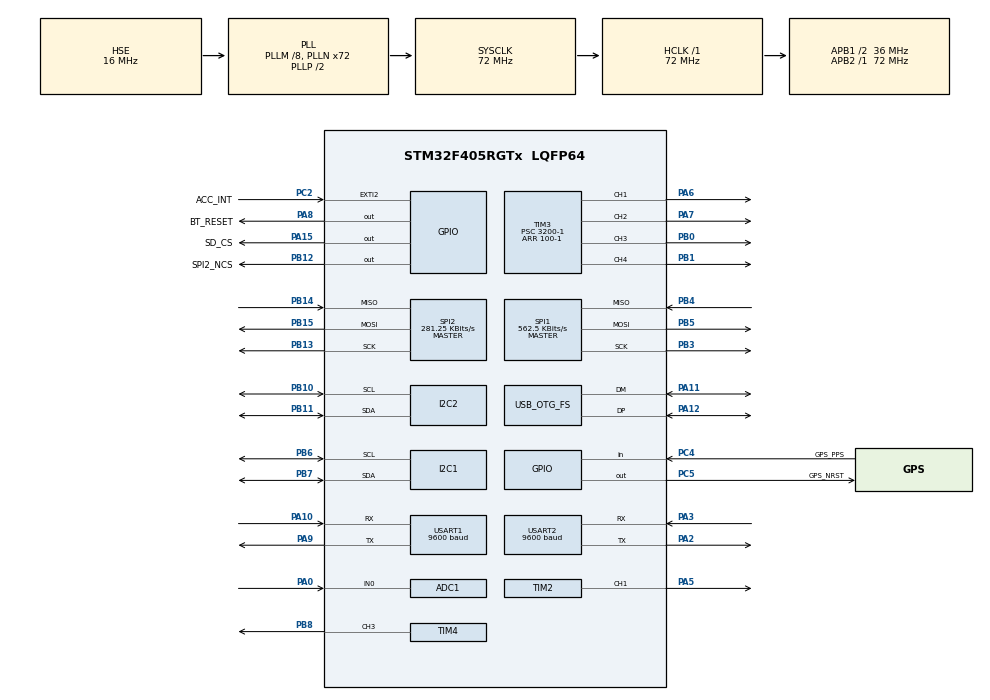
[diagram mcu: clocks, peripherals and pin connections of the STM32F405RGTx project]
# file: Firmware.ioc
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Mcu.Family=STM32F4
USB_DEVICE.CLASS_NAME_FS=CDC
PH0-OSC_IN.Signal=RCC_OSC_IN
RCC.CortexFreq_Value=72000000
PB10.GPIO_Speed=GPIO_SPEED_FREQ_VERY_HIGH
SPI1.VirtualType=VM_MASTER
PB6.GPIO_Mode=GPIO_MODE_AF_OD
SPI2.VirtualType=VM_MASTER
PB10.Mode=I2C
USART1.BaudRate=9600
PA11.Mode=Device_Only
USB_DEVICE.VirtualMode-CDC_FS=Cdc
PB11.Signal=I2C2_SDA
PB13.Signal=SPI2_SCK
PB15.Signal=SPI2_MOSI
TIM3.Channel-PWM\ Generation4\ CH4=TIM_CHANNEL_4
TIM4.TIM_MasterOutputTrigger=TIM_TRGO_UPDATE
RCC.SYSCLKSource=RCC_SYSCLKSOURCE_PLLCLK
ProjectManager.StackSize=0x400
PB11.GPIO_Speed=GPIO_SPEED_FREQ_VERY_HIGH
PB7.GPIO_Mode=GPIO_MODE_AF_OD
PA15.GPIO_Label=SD_CS
PA12.Signal=USB_OTG_FS_DP
SPI1.Direction=SPI_DIRECTION_2LINES
RCC.HCLKFreq_Value=72000000
RCC.APB2TimFreq_Value=72000000
TIM3.Period=100-1
PB6.Signal=I2C1_SCL
ADC1.Channel-2\#ChannelRegularConversion=ADC_CHANNEL_0
PB6.Mode=I2C
SPI1.CalculateBaudRate=562.5 KBits/s
RCC.AHBFreq_Value=72000000
SPI2.BaudRatePrescaler=SPI_BAUDRATEPRESCALER_128
PH0-OSC_IN.Mode=HSE-External-Oscillator
Dma.USART1_RX.0.Priority=DMA_PRIORITY_LOW
TIM3.Channel-PWM\ Generation1\ CH1=TIM_CHANNEL_1
RCC.HSE_VALUE=16000000
TIM4.Channel-PWM\ Generation3\ CH3=TIM_CHANNEL_3
PA4.GPIO_PuPd=GPIO_NOPULL
PB3.Mode=Full_Duplex_Master
PB12.GPIO_Label=SPI2_NCS
ADC1.Rank-2\#ChannelRegularConversion=1
PB4.Mode=Full_Duplex_Master
PC4.GPIO_Label=GPS_PPS
PA14.Mode=Serial_Wire
PB14.Mode=Full_Duplex_Master
TIM3.Prescaler=3200-1
PB5.Mode=Full_Duplex_Master
SPI2.CalculateBaudRate=281.25 KBits/s
PB7.Signal=I2C1_SDA
PA8.Signal=GPIO_Output
SH.ADCx_IN0.0=ADC1_IN0,IN0
TIM2.Channel-PWM\ Generation1\ CH1=TIM_CHANNEL_1
SH.S_TIM3_CH1.0=TIM3_CH1,PWM Generation1 CH1
TIM4.Period=10-1
Dma.USART1_RX.0.MemInc=DMA_MINC_ENABLE
PB6.GPIO_PuPdOD=GPIO_PULLUP
PH1-OSC_OUT.Mode=HSE-External-Oscillator
Mcu.Package=LQFP64
TIM2.Prescaler=3200-1
PB1.Signal=S_TIM3_CH4
PA6.Signal=S_TIM3_CH1
SPI2.Mode=SPI_MODE_MASTER
USART2.VirtualMode=VM_ASYNC
NVIC.OTG_FS_IRQn=true\:0\:0\:false\:false\:true\:false\:true
PA10.Signal=USART1_RX
USB_OTG_FS.VirtualMode=Device_Only
PA15.Signal=GPIO_Output
Dma.USART1_RX.0.FIFOMode=DMA_FIFOMODE_DISABLE
SH.ADCx_IN1.0=ADC1_IN1
NVIC.DMA2_Stream2_IRQn=true\:0\:0\:false\:false\:true\:false\:true
RCC.APB1TimFreq_Value=72000000
Dma.USART1_RX.0.Mode=DMA_NORMAL
SPI2.Direction=SPI_DIRECTION_2LINES
PC5.Signal=GPIO_Output
PB13.Mode=Full_Duplex_Master
PB11.GPIO_Mode=GPIO_MODE_AF_OD
Dma.Request0=USART1_RX
SPI1.BaudRatePrescaler=SPI_BAUDRATEPRESCALER_128
PC2.GPIO_Label=ACC_INT
Dma.USART1_RX.0.Instance=DMA2_Stream2
PB4.Signal=SPI1_MISO
PA3.Signal=USART2_RX
PB7.GPIO_Speed=GPIO_SPEED_FREQ_VERY_HIGH
Dma.USART1_RX.0.PeriphDataAlignment=DMA_PDATAALIGN_BYTE
PA10.Mode=Asynchronous
USB_DEVICE.VirtualModeFS=Cdc_FS
PB10.GPIO_PuPdOD=GPIO_PULLUP
PB11.GPIO_PuPdOD=GPIO_PULLUP
PC2.Signal=GPXTI2
PC4.Signal=GPIO_Input
RCC.APB1CLKDivider=RCC_HCLK_DIV2
SH.S_TIM3_CH3.0=TIM3_CH3,PWM Generation3 CH3
NVIC.USART2_IRQn=true\:0\:0\:false\:false\:true\:true\:true
USART2.BaudRate=9600
ADC1.SamplingTime-2\#ChannelRegularConversion=ADC_SAMPLETIME_3CYCLES
PA0-WKUP.Signal=ADCx_IN0
PA3.Mode=Asynchronous
PA13.Signal=SYS_JTMS-SWDIO
TIM3.Channel-PWM\ Generation3\ CH3=TIM_CHANNEL_3
PA9.Mode=Asynchronous
PB10.GPIO_Mode=GPIO_MODE_AF_OD
PA8.GPIO_Label=BT_RESET
PB11.Mode=I2C
ProjectManager.TargetToolchain=STM32CubeIDE
SH.S_TIM4_CH3.0=TIM4_CH3,PWM Generation3 CH3
Dma.USART1_RX.0.Direction=DMA_PERIPH_TO_MEMORY
VP_USB_DEVICE_VS_USB_DEVICE_CDC_FS.Mode=CDC_FS
PA9.Signal=USART1_TX
TIM4.Prescaler=32000-1
RCC.LSE_VALUE=32768
PA1.Signal=ADCx_IN1
Dma.USART1_RX.0.PeriphInc=DMA_PINC_DISABLE
VP_FATFS_VS_Generic.Mode=User_defined
PB10.Signal=I2C2_SCL
PB14.Signal=SPI2_MISO
PA5.Signal=S_TIM2_CH1_ETR
SH.S_TIM3_CH2.0=TIM3_CH2,PWM Generation2 CH2
board=custom
RCC.VCOOutputFreq_Value=144000000
PB15.Mode=Full_Duplex_Master
PA4.GPIO_Mode=GPIO_MODE_ANALOG
RCC.APB2Freq_Value=72000000
SPI1.Mode=SPI_MODE_MASTER
PH1-OSC_OUT.Signal=RCC_OSC_OUT
Dma.USART1_RX.0.MemDataAlignment=DMA_MDATAALIGN_BYTE
SH.ADCx_IN4.0=ADC1_IN4
TIM2.Period=100-1
PB7.GPIO_PuPdOD=GPIO_PULLUP
PA13.Mode=Serial_Wire
Mcu.Name=STM32F405RGTx
PA2.Signal=USART2_TX
RCC.48MHZClocksFreq_Value=48000000
PB3.Signal=SPI1_SCK
PA4.Signal=ADCx_IN4
RCC.SYSCLKFreq_VALUE=72000000
PB5.Signal=SPI1_MOSI
ADC1.master=1
PA12.Mode=Device_Only
PC5.GPIO_Label=GPS_NRST
USART1.VirtualMode=VM_ASYNC
PB7.Mode=I2C
PA11.Signal=USB_OTG_FS_DM
SH.S_TIM2_CH1_ETR.0=TIM2_CH1,PWM Generation1 CH1
PA14.Signal=SYS_JTCK-SWCLK
ProjectManager.HeapSize=0x200
RCC.HSI_VALUE=16000000
VP_TIM4_VS_ClockSourceINT.Mode=Internal
RCC.PLLQ=3
NVIC.PriorityGroup=NVIC_PRIORITYGROUP_4
ADC1.NbrOfConversionFlag=1
TIM3.Channel-PWM\ Generation2\ CH2=TIM_CHANNEL_2
RCC.PLLM=8
RCC.PLLN=72
PA2.Mode=Asynchronous
PB8.Signal=S_TIM4_CH3
PB6.GPIO_Speed=GPIO_SPEED_FREQ_VERY_HIGH
RCC.APB1Freq_Value=36000000
PB0.Signal=S_TIM3_CH3
PB12.Signal=GPIO_Output
SH.S_TIM3_CH4.0=TIM3_CH4,PWM Generation4 CH4
PA7.Signal=S_TIM3_CH2

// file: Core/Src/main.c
/* USER CODE BEGIN Header */
/**
  ******************************************************************************
  * @file           : main.c
  * @brief          : Main program body
  ******************************************************************************
  * @attention
  *
  * <h2><center>&copy; Copyright (c) 2021 STMicroelectronics.
  * All rights reserved.</center></h2>
  *
  * This software component is licensed by ST under BSD 3-Clause license,
  * the "License"; You may not use this file except in compliance with the
  * License. You may obtain a copy of the License at:
  *                        opensource.org/licenses/BSD-3-Clause
  *
  ******************************************************************************
  */
/* USER CODE END Header */
#include "main.h"
#include "adc.h"
#include "dma.h"
#include "fatfs.h"
#include "i2c.h"
#include "spi.h"
#include "tim.h"
#include "usart.h"
#include "usb_device.h"
#include "gpio.h"

/* USER CODE BEGIN Includes */
#include <stdarg.h> //for va_list var arg functions
#include "stdio.h"
#include "stdlib.h"
#include "math.h"
#include "u8g2/u8g2.h"
#include "GPS.h"
#include "SEN5x.h"

/* USER CODE END Includes */

/* USER CODE BEGIN PD */
//#define SD_SPI_HANDLE hspi1 // overwritten in user_diskio_spi.c
char screen_str[3];
uint16_t adcData[2];
float batteryVoltage;
float batteryTemperature;
float temp;
float rh;
float comp_t;
float comp_rh;
uint16_t counter = 0;
uint8_t noSD = 1;
uint32_t millis = 0; // last measurement
uint8_t btname[12]; // SPS serial typically 16 bytes, 12 is allowed for name
uint8_t filename[11]; // 11 bytes allowed for filename length
uint8_t data[164];

FATFS FatFs; 	//Fatfs handle
FIL fil; 		//File handle
uint8_t readBuf[8];
uint8_t count = 0;
uint8_t btcmd[19];
FRESULT fres; //Result after operations
/* USER CODE END PD */

void SystemClock_Config(void);

/* USER CODE BEGIN 0 */
extern uint8_t u8x8_stm32_gpio_and_delay(u8x8_t *u8x8, uint8_t msg, uint8_t arg_int, void *arg_ptr);
extern uint8_t u8x8_byte_stm32_hw_i2c(u8x8_t *u8x8, uint8_t msg, uint8_t arg_int, void *arg_ptr);

static u8g2_t u8g2;

void HAL_UART_RxCpltCallback(UART_HandleTypeDef *huart)
{
	GPS_CallBack();
//	HAL_UART_Receive_DMA(&huart1, readBuf, 8);
}

char * screen_format(int val) {
	if (val < 99 && val >= -9) {
		if (val <= 9) {
			sprintf(screen_str, " %d", val);
		} else {
			sprintf(screen_str, "%d", val);
		}

	} else {
		sprintf(screen_str, "%d", 99);
	}

	return screen_str;
}

int Linear(int AQIhigh, int AQIlow, float Conchigh, float Conclow, float Conc) {
	return ((Conc-Conclow)/(Conchigh-Conclow))*(AQIhigh-AQIlow)+AQIlow;
}

int AQIPM25(float c) {

	if (c>=0 && c<12.1)
	{
		return(Linear(50,0,12,0,c));
	}
	else if (c>=12.1 && c<35.5)
	{
		return(Linear(100,51,35.4,12.1,c));
	}
	else if (c>=35.5 && c<55.5)
	{
		return(Linear(150,101,55.4,35.5,c));
	}
	else if (c>=55.5 && c<150.5)
	{
		return(Linear(200,151,150.4,55.5,c));
	}
	else if (c>=150.5 && c<250.5)
	{
		return(Linear(300,201,250.4,150.5,c));
	}
	else if (c>=250.5 && c<500)
	{
		return(Linear(500,301,500.4,250.5,c));
	}
	else return 500;

}

void gps_dots(int gps_satellites, int fix) {
	if (gps_satellites > 0) u8g2_DrawRBox(&u8g2, 126, 11, 2, 2, 1); // any fix = 1 bar
	if (gps_satellites > 3) u8g2_DrawRBox(&u8g2, 123, 11, 2, 4, 1); // indoors I typically have 4-5 sats
	if (gps_satellites > 4) u8g2_DrawRBox(&u8g2, 120, 11, 2, 6, 1);
	if (gps_satellites > 5) u8g2_DrawRBox(&u8g2, 117, 11, 2, 8, 1);
}

void battery_dots_vert(float voltage) {
    if (voltage < 3.2) // then battery has ~30min remaining
		if (counter%2 == 0) return;
    u8g2_DrawRFrame(&u8g2, 117-0, 0, 11, 8, 1);
    u8g2_DrawRBox(&u8g2, 116-0, 3, 2, 2, 1);
	if (voltage > 3.2) u8g2_DrawRBox(&u8g2, 127-0, 2, 2, 4, 1); // -62
	if (voltage > 3.35) u8g2_DrawRBox(&u8g2, 125-0, 2, 2, 4, 1);
	if (voltage > 3.45) u8g2_DrawRBox(&u8g2, 123-0, 2, 2, 4, 1);
	if (voltage > 3.55) u8g2_DrawRBox(&u8g2, 121-0, 2, 2, 4, 1);
	if (voltage > 3.65) u8g2_DrawRBox(&u8g2, 119-0, 2, 2, 4, 1);
}

void initDisplay() {

	  /* I2C Interface */
	  u8g2_Setup_ssd1306_i2c_128x32_univision_f(&u8g2, U8G2_R0, u8x8_byte_stm32_hw_i2c, u8x8_stm32_gpio_and_delay);
//	  u8g2_setBusClock

	  /* Initialize Display */
	  u8g2_InitDisplay(&u8g2);
	  u8g2_SetPowerSave(&u8g2, 0);
	  u8g2_SetFontDirection(&u8g2, 2);

}

void updateDisplay() {

	  float pm25 = SPS30.spsData[1];
	  char screen_str[16];

	  float aqi = AQIPM25(pm25);
	  int barwidth = (128-55);
	  int aqi_width = barwidth*aqi/500. +2;

	  int gps_satellites = GPS.GPGGA.SatellitesUsed;

	  float vbat = batteryVoltage;

	  u8g2_FirstPage(&u8g2);
	  		do
	  		{
	  			u8g2_ClearBuffer(&u8g2);

	  			// numbers
	  	  u8g2_SetFont(&u8g2, u8g2_font_logisoso30_tn);
          u8g2_DrawStr(&u8g2, 50, 0, screen_format((int)pm25));
          u8g2_SetFont(&u8g2, u8g2_font_logisoso16_tn);
          if (pm25<100) sprintf(screen_str, ".%d", (int)(pm25*10)%10);
          else sprintf(screen_str, ".%d", 9);
          u8g2_DrawStr(&u8g2, 14, 14, screen_str);
          if (noSD == 1) {
        	  u8g2_SetFont(&u8g2, u8g2_font_profont17_tf);
        	  if (counter%2 == 0) u8g2_DrawStr(&u8g2, 128-24+0, 0, "No SD");
          }
          else { /* we compensate for the board temperature heating by offsetting the shown value by -4C */
              u8g2_SetFont(&u8g2, u8g2_font_logisoso18_tn);
        	  u8g2_DrawStr(&u8g2, 128-50+0, 0, screen_format(round(SPS30.spsData[4]))); // GPS.GPGGA.UTC_Min
        	  u8g2_DrawStr(&u8g2, 128-20+0, 0, screen_format(round(SPS30.spsData[5]))); // GPS.GPGGA.UTC_Hour
          }
          u8g2_SetFont(&u8g2, u8g2_font_profont10_tf);

          // gps
          gps_dots(gps_satellites, GPS.GPGGA.PositionFixIndicator);

          // battery
          battery_dots_vert(vbat);

          // air quality indicator
          u8g2_DrawRFrame(&u8g2, 128-barwidth, 27, barwidth, 7, 1);
          u8g2_DrawRBox(&u8g2, 128-aqi_width, 27, aqi_width, 5, 1);

	  		} while (u8g2_NextPage(&u8g2));
}

void welcomeDisplay() {

	u8g2_FirstPage(&u8g2);
	do
	{
		u8g2_ClearBuffer(&u8g2);
		u8g2_SetFont(&u8g2, u8g2_font_profont17_tf);
		u8g2_DrawStr(&u8g2, 127, 20, "open-seneca");
		u8g2_SetFont(&u8g2, u8g2_font_profont10_tf);
		u8g2_DrawStr(&u8g2, 127, 4, "air quality sensor ...");
	} while (u8g2_NextPage(&u8g2));

}

void lowBatteryDisplay() {

	u8g2_FirstPage(&u8g2);
	u8g2_NextPage(&u8g2);
	HAL_Delay(1000);
	u8g2_DrawRFrame(&u8g2, 117-0, 0, 11, 8, 1);
	u8g2_DrawRBox(&u8g2, 116-0, 3, 2, 2, 1);
	u8g2_NextPage(&u8g2);
	HAL_Delay(1000);

}

void dataTransferDisplay() {

	char screen_str[32] = "File: ";
	u8g2_FirstPage(&u8g2);
		do
		{
			u8g2_ClearBuffer(&u8g2);
			u8g2_SetFont(&u8g2, u8g2_font_profont17_tf);
			u8g2_DrawStr(&u8g2, 127, 20, "BT transmit...");
			u8g2_SetFont(&u8g2, u8g2_font_profont10_tf);
			strcat(screen_str, filename);
			u8g2_DrawStr(&u8g2, 127, 4, screen_str);
		} while (u8g2_NextPage(&u8g2));

}

int SHTC3_read_data() { // for sht21

	  /* Clock stretching enabled, read T first */
	  uint8_t txBuf[2] = {0x7C, 0xA2};
	  HAL_StatusTypeDef status = HAL_I2C_Master_Transmit(&hi2c1, (0x70<<1), &txBuf, 2, HAL_MAX_DELAY);

	  if (status != HAL_OK) {
		  return -1;
	  }

	  /* Read both t and rh */
	  uint8_t rxBuf[6];

	  status = HAL_I2C_Master_Receive(&hi2c1, (0x70 << 1), (uint8_t *) rxBuf, 6, HAL_MAX_DELAY);

	  if (status != HAL_OK) {
		  return -1;
	  }

	  /* Test checksum with first 2 bytes */
	  if (CalcCrc(rxBuf) != rxBuf[2]) return -1;

	  uint16_t val = (int16_t) ((rxBuf[0] << 8) | rxBuf[1]);
	  temp = 0.00267028808f * val - 45.0f;

	  val = (int16_t) ((rxBuf[3] << 8) | rxBuf[4]);

	  rh = 0.0015258789f * val;

	  return 1;

}

float compensateRH(float RH_sensor, float T_sensor, float dT) {
	float c1 = 17.62;
	float c2 = 243.12;
	float c3 = 275.15;

	float T_real = T_sensor + dT;

	return ((c3 + T_real) * RH_sensor * exp( c1 * ((T_sensor/(c2 + T_sensor)) - (T_real/(c2 + T_real))) )) / (c3 + T_sensor);
}

float compensateT(float T_sensor, float dT) {
	return T_sensor+dT;
}

void KX023_read_tilt() {
	HAL_StatusTypeDef status;
	uint16_t addr = 0x1E;
	uint16_t TSCP = 0x10; // Current Tilt Position Register
	uint16_t TSPP = 0x11; // Previous Tilt Position Register
	uint8_t rxBuf[8];
//	status = HAL_I2C_Master_Transmit(&hi2c1, (addr<<1), TSCP, 2, HAL_MAX_DELAY);
//	status = HAL_I2C_Master_Receive(&hi2c1, (addr << 1), (uint8_t *) rxBuf, 6, HAL_MAX_DELAY);

	status = HAL_I2C_Mem_Read(&hi2c1, (addr << 1), TSPP, 2, &rxBuf, 8, HAL_MAX_DELAY);
	status = HAL_I2C_Mem_Read(&hi2c1, (addr << 1), 0x00, 2, &rxBuf, 8, HAL_MAX_DELAY);
}

void initRGBLED() {

	HAL_TIM_PWM_Start(&htim2, TIM_CHANNEL_1);
	HAL_TIM_PWM_Start(&htim3, TIM_CHANNEL_1);
	HAL_TIM_PWM_Start(&htim3, TIM_CHANNEL_2);
	HAL_TIM_PWM_Start(&htim3, TIM_CHANNEL_3);
	HAL_TIM_PWM_Start(&htim3, TIM_CHANNEL_4);
	HAL_TIM_PWM_Start(&htim4, TIM_CHANNEL_3);

	setAirLED(100, 100, 100);
	setStatLED(100, 100, 100);

}

void setStatLED(int r, int g, int b) { // values 0-100

	htim2.Instance->CCR1 = r;
	htim3.Instance->CCR1 = g;
	htim3.Instance->CCR2 = b;

}

void flashStatLED(int r, int g, int b) { // values 0-100

	setStatLED(r, g, b);
	HAL_Delay(200);
	setStatLED(100, 100, 100);

}

void setAirLED(int r, int g, int b) { // values 0-100

	htim3.Instance->CCR3 = r;
	htim3.Instance->CCR4 = g;
	htim4.Instance->CCR3 = b;

}

void AirLED_on() {
	if (SPS30.spsData[1] > 30) setAirLED(0, 100, 100); // red
	else if (SPS30.spsData[1] > 10) setAirLED(0, 0, 100); // yellow
	else setAirLED(100, 0, 100); // green
}

void AirLED_off() {
	setAirLED(100, 100, 100);
}

//readUART() {
//	strcpy(readBuf_old, readBuf);
//	HAL_UART_Receive_IT(&huart1,&readBuf,1);
//	if (strcmp(readBuf_old, readBuf) != 0)
//		count++;
//}

void renameBT() {

	/* max length of hm11 name is 12, BT05-A module requires \r\n at the end of every command */
	sprintf(btname, "%s%c%c%c", "OPEN-SENE", SPS30.serial[13], SPS30.serial[14], SPS30.serial[15]);
	uint8_t btcmd[32];
	uint8_t btlen = sprintf(btcmd, "%s%s%s", "AT+NAME", btname, "\r\n");
	HAL_UART_Transmit(&huart1, btcmd, btlen, HAL_MAX_DELAY);
	// reboot module with set changes
	HAL_Delay(50);
	HAL_GPIO_WritePin(GPIOA, BT_RESET_Pin, GPIO_PIN_RESET);
	HAL_Delay(50);
	HAL_GPIO_WritePin(GPIOA, BT_RESET_Pin, GPIO_PIN_SET);

}

void checkBTconn() {
	uint8_t btcmd[32];
	uint8_t btresp[16];
	uint8_t btlen = sprintf(btcmd, "%s", "AT+DISC\r\n");
	HAL_Delay(50);
	HAL_UART_Transmit(&huart1, btcmd, btlen, HAL_MAX_DELAY);
	HAL_Delay(50);
	HAL_UART_Receive_DMA(&huart1, btresp, 16);
	HAL_Delay(50);
}

void generateFilename() {

	int filenumber = 0;
	FRESULT res;
	/* first 3 digits from SPS SN, then 4 digit file counter */
	while (res == FR_OK) {
		sprintf(filename, "%c%c%c%04d.csv", SPS30.serial[13], SPS30.serial[14], SPS30.serial[15], filenumber);
		res = f_open(&fil, filename, FA_READ);
		f_close(&fil);
		filenumber++;
	}
}

int saveToSD(uint8_t *dBuf, uint8_t dBufLen) {

	//Open a file for writing
	if (f_open(&fil, filename, FA_WRITE | FA_OPEN_APPEND) != FR_OK) return -1;

	UINT bytesWrote;//Number of bytes written
	if (f_write(&fil, dBuf, dBufLen, &bytesWrote) != FR_OK) return -1;

	//Close the file after writing
	if (f_close(&fil) != FR_OK) return -1;

//	//De-mount the drive
//	if (f_mount(NULL, "", 0) != FR_OK) return -1;

	return bytesWrote;
}

int getSDcardStats() {

	//Let's get some statistics from the SD card
	DWORD free_clusters, free_sectors, total_sectors;
	FATFS* getFreeFs;

	fres = f_getfree("", &free_clusters, &getFreeFs); // takes a few sec to run

	//Formula comes from ChaN's documentation
	total_sectors = (getFreeFs->n_fatent - 2) * getFreeFs->csize;
	free_sectors = free_clusters * getFreeFs->csize;

}

void transmitSDcardData() {

	uint8_t filenumber = 0;
	FRESULT res;
	BYTE readBuf[255];
	/* first 3 digits from SPS SN, then 4 digit file counter */
	while (res == FR_OK) {
		sprintf(filename, "%c%c%c%04d.csv", SPS30.serial[13], SPS30.serial[14], SPS30.serial[15], filenumber);
		dataTransferDisplay();
		res = f_open(&fil, filename, FA_READ);

		// if the file exists, dump its content to the BT module
		if (res == FR_OK) {
			//We can either use f_read OR f_gets to get data out of files
			//f_gets is a wrapper on f_read that does some string formatting for us
			TCHAR* rres = f_gets((TCHAR*)readBuf, 255, &fil);
			while (rres != 0) {
				AirLED_off();
//				CDC_Transmit_FS(readBuf, strlen(readBuf)); // required for COM port
				HAL_UART_Transmit(&huart1, readBuf, strlen(readBuf), HAL_MAX_DELAY);
				AirLED_on();
				rres = f_gets((TCHAR*)readBuf, 255, &fil);
			}
		}

		f_close(&fil);
		filenumber++;
	}
}

int writeFileHeader() {

	//Open a file for writing
	if (f_open(&fil, filename, FA_WRITE | FA_OPEN_APPEND) != FR_OK) return -1;

	UINT bytesWrote;//Number of bytes written
	uint8_t details[39];
	uint8_t length = sprintf(details, "STM32_v0.2,,,SPS30_SN:%s\n", SPS30.serial);
	if (f_write(&fil, details, length, &bytesWrote) != FR_OK) return -1;

	uint8_t header[195];
	length = sprintf(header, "Counter,Latitude,Longitude,gpsUpdated,Speed,Altitude,Satellites,Date,Time,Millis,PM1.0,PM2.5,PM4.0,PM10,Temperature,Humidity,NC0.5,NC1.0,NC2.5,NC4.0,NC10,TypicalParticleSize,TVOC,eCO2,BatteryVIN,compensatedT,compensatedRH,UID\n");
	if (f_write(&fil, header, length, &bytesWrote) != FR_OK) return -1;

	//Close the file after writing
	if (f_close(&fil) != FR_OK) return -1;

}

void updateADC() {

	  HAL_ADC_Start(&hadc1);
	  HAL_ADC_PollForConversion(&hadc1, HAL_MAX_DELAY);
	  adcData[0] = HAL_ADC_GetValue(&hadc1);
	  batteryVoltage = adcData[0] * 0.00112556008f;

}

/* USER CODE END 0 */

int main(void)
{

  /* MCU Configuration--------------------------------------------------------*/

  /* Reset of all peripherals, Initializes the Flash interface and the Systick. */
  HAL_Init();

  /* Configure the system clock */
  SystemClock_Config();

  /* Initialize all configured peripherals */
  MX_GPIO_Init();
  MX_DMA_Init();
  MX_I2C1_Init();
  MX_I2C2_Init();
  MX_USART1_UART_Init();
  MX_ADC1_Init();
  MX_TIM2_Init();
  MX_TIM3_Init();
  MX_TIM4_Init();
  MX_SPI1_Init();
  MX_SPI2_Init();
  MX_USART2_UART_Init();
  MX_USB_DEVICE_Init();
  MX_FATFS_Init();
  /* USER CODE BEGIN 2 */

  HAL_Delay(50);
  updateADC(); // if battery voltage is too low, prevent boot
  HAL_Delay(50);
  initDisplay();
//  if (batteryVoltage < 2.75f) while(1) lowBatteryDisplay();
  HAL_Delay(20);
  welcomeDisplay();

  HAL_GPIO_WritePin(GPIOA, BT_RESET_Pin, GPIO_PIN_SET);
  HAL_Delay(50);
  GPS_Init();
  HAL_Delay(50);
  initRGBLED();
  HAL_Delay(50);
  MX_I2C2_Init(); // reset i2c2 again (needed for it to work!)
  HAL_Delay(50);
  SPS30_start_measurement();
  HAL_Delay(50);
  SPS30_read_serialnumber();
  HAL_Delay(50);
  SPS30_data_ready();
  renameBT();
  checkBTconn();
  SPS30_clean_fan();

  //Mount the file system
  f_mount(&FatFs, "", 1);

  // beta feature: send all SD card data at boot, replaces generateFilename()
//  transmitSDcardData();
  generateFilename();

  // write header for new file
  writeFileHeader();

  /* USER CODE END 2 */

  /* Infinite loop */
  while (1)
  {

    /* USER CODE BEGIN 3 */

	  /* Read all the sensors */
//	  KX023_read_tilt();

	  /* BT test if connected */
//	  checkBTconn();
//		HAL_Delay(50);
//		HAL_UART_Receive_DMA(&huart1, readBuf, 8);
//		HAL_Delay(50);
//		if (readBuf[0] != 0) {
//			flashStatLED(0,0,0);
//		}
//		if (readBuf) HAL_UART_Transmit(&huart1, "AT+CONNL", 8, HAL_MAX_DELAY); // for HM11 module
// if lost restart module

	  /* Show boot screen until values first become none-zero */
	  while (SPS30_read_data() != 1) {
		  setStatLED(100, 0, 50); // SPS error: cyan LED
		  HAL_Delay(100);
	  }
	  setStatLED(100, 100, 100);
	  HAL_Delay(50);
	  SHTC3_read_data();
	  comp_t = compensateT(temp, -4);
	  comp_rh = compensateRH(rh, temp, -4);
	  updateADC();
	  millis = HAL_GetTick();

	  /* Format output data string */
	  uint8_t length = sprintf(data, "%d,%f,%f,%d," // counter, lat, lon, fix
			  "%.1f,%.1f,%d,%d,%06.0f,%d," // speed, alt, sat, date, time, millis
			  "%.2f,%.2f,%.2f,%.2f,%.1f,%.1f," // pm1, pm25, pm4, pm10, t, rh
			  "%.2f,%.2f,%.2f,%.2f,%.2f,%.2f,%d,%d,%.2f,%.1f,%.1f,%c%c%c\n", // nc0.5, nc1.0, nc2.5, nc4.0, nc10, psize, tvoc, eco2, vbat
			  counter, GPS.GPGGA.LatitudeDecimal, GPS.GPGGA.LongitudeDecimal, GPS.GPGGA.PositionFixIndicator,
			  GPS.GPGGA.Speed_KMH, GPS.GPGGA.MSL_Altitude, GPS.GPGGA.SatellitesUsed, GPS.GPGGA.YYYYMMDD, GPS.GPGGA.HHMMSS, millis,
			  SPS30.spsData[0], SPS30.spsData[1], SPS30.spsData[2], SPS30.spsData[3], temp, rh,
			  SPS30.spsData[4], SPS30.spsData[5], SPS30.spsData[6], SPS30.spsData[7], SPS30.spsData[8], SPS30.spsData[9],
			  0, 0, batteryVoltage, comp_t, comp_rh, SPS30.serial[13], SPS30.serial[14], SPS30.serial[15]);

	  /* Send data via BT and COM, save to SD */
	  AirLED_on();
	  CDC_Transmit_FS(data, length); // required for COM port
	  HAL_UART_Transmit(&huart1, data, length, HAL_MAX_DELAY);
	  if (saveToSD(&data, length) == -1) noSD = 1;
	  else noSD = 0;
	  AirLED_off();

	  /* Update the display */
	  updateDisplay();

	  /* Increase counter and wait */
	  counter++;
	  while (HAL_GetTick()-millis < 1000) {
		  HAL_Delay(10); // does increasing this delay save power?
	  }

	  /* Set debug LED */
	  if (rh > 100 || rh < 0) flashStatLED(100, 100, 0); // SHT errors: blue LED
	  if (noSD == 1) flashStatLED(0, 100, 0); // SD errors: purple LED
	  if (batteryVoltage < 2.6 || batteryVoltage > 5) flashStatLED(0, 100, 100); // Battery errors: red LED

  }
  /* USER CODE END 3 */
}

void SystemClock_Config(void)
{
  RCC_OscInitTypeDef RCC_OscInitStruct = {0};
  RCC_ClkInitTypeDef RCC_ClkInitStruct = {0};

  /** Configure the main internal regulator output voltage
  */
  __HAL_RCC_PWR_CLK_ENABLE();
  __HAL_PWR_VOLTAGESCALING_CONFIG(PWR_REGULATOR_VOLTAGE_SCALE1);
  /** Initializes the RCC Oscillators according to the specified parameters
  * in the RCC_OscInitTypeDef structure.
  */
  RCC_OscInitStruct.OscillatorType = RCC_OSCILLATORTYPE_HSE;
  RCC_OscInitStruct.HSEState = RCC_HSE_ON;
  RCC_OscInitStruct.PLL.PLLState = RCC_PLL_ON;
  RCC_OscInitStruct.PLL.PLLSource = RCC_PLLSOURCE_HSE;
  RCC_OscInitStruct.PLL.PLLM = 8;
  RCC_OscInitStruct.PLL.PLLN = 72;
  RCC_OscInitStruct.PLL.PLLP = RCC_PLLP_DIV2;
  RCC_OscInitStruct.PLL.PLLQ = 3;
  if (HAL_RCC_OscConfig(&RCC_OscInitStruct) != HAL_OK)
  {
    Error_Handler();
  }
  /** Initializes the CPU, AHB and APB buses clocks
  */
  RCC_ClkInitStruct.ClockType = RCC_CLOCKTYPE_HCLK|RCC_CLOCKTYPE_SYSCLK
                              |RCC_CLOCKTYPE_PCLK1|RCC_CLOCKTYPE_PCLK2;
  RCC_ClkInitStruct.SYSCLKSource = RCC_SYSCLKSOURCE_PLLCLK;
  RCC_ClkInitStruct.AHBCLKDivider = RCC_SYSCLK_DIV1;
  RCC_ClkInitStruct.APB1CLKDivider = RCC_HCLK_DIV2;
  RCC_ClkInitStruct.APB2CLKDivider = RCC_HCLK_DIV1;

  if (HAL_RCC_ClockConfig(&RCC_ClkInitStruct, FLASH_LATENCY_2) != HAL_OK)
  {
    Error_Handler();
  }
}

void Error_Handler(void)
{
  __disable_irq();
  while (1)
  {
  }
}

/************************ (C) COPYRIGHT STMicroelectronics *****END OF FILE****/
